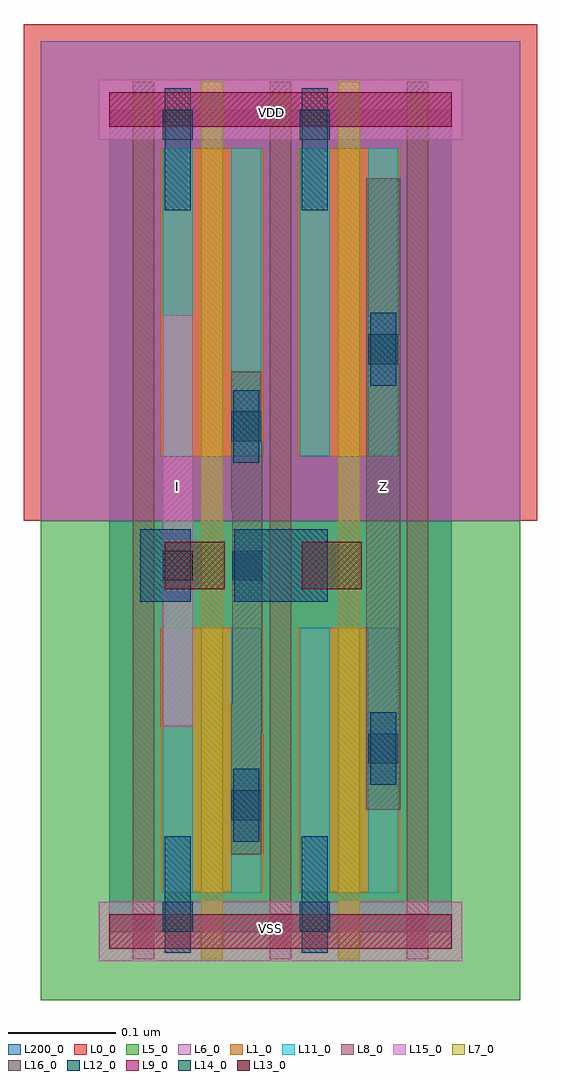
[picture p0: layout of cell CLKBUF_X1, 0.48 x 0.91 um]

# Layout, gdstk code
import gdstk
lib = gdstk.Library(unit=1e-6, precision=1e-09)
def R(c, l, rs):  # rectangles x0, y0, x1, y1
    for r in rs: c.add(gdstk.rectangle(r[:2], r[2:], *l))
def A(c, l, x, y, w, h, nx, ny, dx, dy):  # array of equal rectangles
    R(c, l, [(x+i*dx, y+j*dy, x+i*dx+w, y+j*dy+h) for i in range(nx) for j in range(ny)])
def P(c, l, *ps):  # polygons
    for p in ps: c.add(gdstk.Polygon(p, *l))
L0_0 = (0, 0)
L1_0 = (1, 0)
L5_0 = (5, 0)
L6_0 = (6, 0)
L7_0 = (7, 0)
L8_0 = (8, 0)
L9_0 = (9, 0)
L11_0 = (11, 0)
L12_0 = (12, 0)
L13_0 = (13, 0)
L14_0 = (14, 0)
L15_0 = (15, 0)
L16_0 = (16, 0)
L200_0 = (200, 0)

clkbuf_x1 = lib.new_cell('CLKBUF_X1')
R(clkbuf_x1, L0_0, [(-0.08,0.384,0.4,0.848)])
R(clkbuf_x1, L1_0, [(0.048,0.036,0.144,0.284), (0.176,0.036,0.272,0.284), (0.048,0.444,0.144,0.732), (0.176,0.444,0.272,0.732)])
R(clkbuf_x1, L5_0, [(-0.064,-0.064,0.384,0.384)])
R(clkbuf_x1, L6_0, [(-0.064,0.384,0.384,0.832)])
R(clkbuf_x1, L7_0, [(0.086,-0.026,0.106,0.794), (0.214,-0.026,0.234,0.794)])
A(clkbuf_x1, L8_0, 0.022, -0.026, 0.02, 0.82, 3, 1, 0.128, 0)
R(clkbuf_x1, L9_0, [(0,-0.016,0.32,0.016), (0,0.752,0.32,0.784)])
A(clkbuf_x1, L11_0, 0.05, 0.036, 0.028, 0.248, 4, 1, 0.064, 0)
A(clkbuf_x1, L11_0, 0.05, 0.444, 0.028, 0.288, 4, 1, 0.064, 0)
R(clkbuf_x1, L12_0, [(0.052,-0.02,0.076,0.089), (0.18,-0.02,0.204,0.089), (0.116,0.084,0.14,0.152), (0.244,0.137,0.268,0.205), (0.029,0.308,0.076,0.376), (0.117,0.308,0.204,0.376), (0.116,0.438,0.14,0.506), (0.244,0.51,0.268,0.578), (0.052,0.674,0.076,0.788), (0.18,0.674,0.204,0.788)])
R(clkbuf_x1, L13_0, [(0.052,0.32,0.108,0.364), (0.18,0.32,0.236,0.364)])
R(clkbuf_x1, L14_0, [(0.05,0,0.078,0.028), (0.178,0,0.206,0.028), (0.114,0.104,0.142,0.132), (0.242,0.157,0.27,0.185), (0.05,0.328,0.078,0.356), (0.115,0.328,0.143,0.356), (0.114,0.458,0.142,0.486), (0.242,0.53,0.27,0.558), (0.05,0.74,0.078,0.768), (0.178,0.74,0.206,0.768)])
R(clkbuf_x1, L15_0, [(-0.01,-0.028,0.33,0.028), (0.05,0.192,0.078,0.576), (-0.01,0.74,0.33,0.796)])
R(clkbuf_x1, L16_0, [(0.24,0.114,0.272,0.704)])
P(clkbuf_x1, L16_0, [(0.114,0.393),(0.115,0.393),(0.115,0.213),(0.114,0.213),(0.114,0.072),(0.142,0.072),(0.142,0.185),(0.143,0.185),(0.143,0.458),(0.142,0.458),(0.142,0.523),(0.114,0.523)])
R(clkbuf_x1, L200_0, [(0,0,0.32,0.768)])
clkbuf_x1.add(gdstk.Label('VSS', (0.151,0.003), layer=15, texttype=20))
clkbuf_x1.add(gdstk.Label('I', (0.064,0.416), layer=15, texttype=20))
clkbuf_x1.add(gdstk.Label('VDD', (0.152,0.765), layer=15, texttype=20))
clkbuf_x1.add(gdstk.Label('Z', (0.256,0.416), layer=16, texttype=20))

lib.write_gds('CLKBUF_X1.gds')
